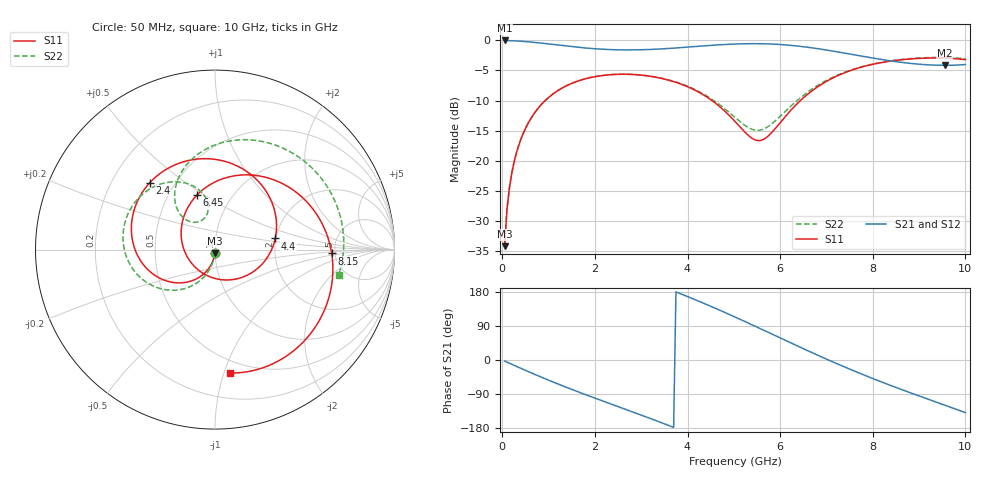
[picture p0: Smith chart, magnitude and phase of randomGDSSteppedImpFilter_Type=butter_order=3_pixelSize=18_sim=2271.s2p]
! freq	dB(S11)	phase(S11)	dB(S12)	phase(S12)
!  dB(S21)	phase(S21)	dB(S22)	phase(S22)
!S-par simulation data
#  GHz  S  DB  R 50
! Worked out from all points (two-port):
!   200 points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, 50 MHz to 10 GHz, reference 50 ohm
!   highest |S21| = 0.00 dB at 50 MHz (marker M1); lowest = -4.1 dB at 9.55 GHz (marker M2)
!   |S21| within 3 dB of the highest: start of sweep to 8.055 GHz
!   lowest |S11| = -34.2 dB at 50 MHz (marker M3), VSWR 1.04, Z = 49.9 - j1.93 ohm
!   |S11| at or under -10 dB: start of sweep to 927.8 MHz; 4.526 GHz to 6.438 GHz (1.912 GHz wide, 34.9 % of centre)
!   |S22| runs from -34.2 to -2.8 dB; largest |S21 - S12| = 0
!   S11 on the Smith chart (normalised r, x): 50 MHz: 1.00, -0.04; 2.4 GHz: 0.37, +0.37; 4.4 GHz: 1.98, +0.28; 6.45 GHz: 0.69, +0.46; 8.15 GHz: 4.70, -0.35; 10 GHz: 0.40, -1.04
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0.05  -34.24 -93.2  -0.00 -2.8  -0.00 -2.8  -34.24 -92.6
0.1  -28.24 -96.5  -0.01 -5.6  -0.01 -5.6  -28.24 -95.2
0.2  -22.29 -102.8  -0.04 -11.1  -0.04 -11.1  -22.28 -100.3
0.5  -14.66 -121.0  -0.19 -27.3  -0.19 -27.3  -14.65 -114.9
1.1  -8.88 -155.7  -0.68 -58.3  -0.68 -58.3  -8.86 -141.9
1.75  -6.48 168.7  -1.23 -89.2  -1.23 -89.2  -6.46 -168.3
2.4  -5.67 134.1  -1.54 -118.4  -1.54 -118.4  -5.66 168.0
2.9  -5.71 106.9  -1.57 -140.7  -1.57 -140.7  -5.69 150.8
3.4  -6.26 78.0  -1.43 -163.7  -1.43 -163.7  -6.22 134.4
3.9  -7.39 46.4  -1.17 172.4  -1.17 172.4  -7.32 118.8
4.4  -9.34 10.5  -0.88 147.1  -0.88 147.1  -9.17 105.4
5.05  -13.69 -51.2  -0.59 112.1  -0.59 112.1  -12.98 99.8
5.6  -16.60 -140.3  -0.55 81.2  -0.55 81.2  -14.87 121.1
6.05  -13.22 149.5  -0.70 55.4  -0.70 55.4  -12.26 134.6
6.45  -9.91 108.5  -1.00 32.7  -1.00 32.7  -9.46 130.8
6.7  -8.32 87.9  -1.24 18.7  -1.24 18.7  -8.04 124.3
7.35  -5.51 42.9  -2.05 -16.2  -2.05 -16.2  -5.42 101.1
8.15  -3.73 -1.9  -3.12 -56.1  -3.12 -56.1  -3.70 68.1
8.35  -3.47 -11.8  -3.36 -65.5  -3.36 -65.5  -3.44 59.7
8.9  -3.03 -37.2  -3.89 -90.5  -3.89 -90.5  -2.97 36.3
9.55  -2.95 -64.7  -4.15 -119.0  -4.15 -119.0  -2.84 8.4
10  -3.20 -83.3  -4.01 -138.8  -4.01 -138.8  -3.06 -11.4
